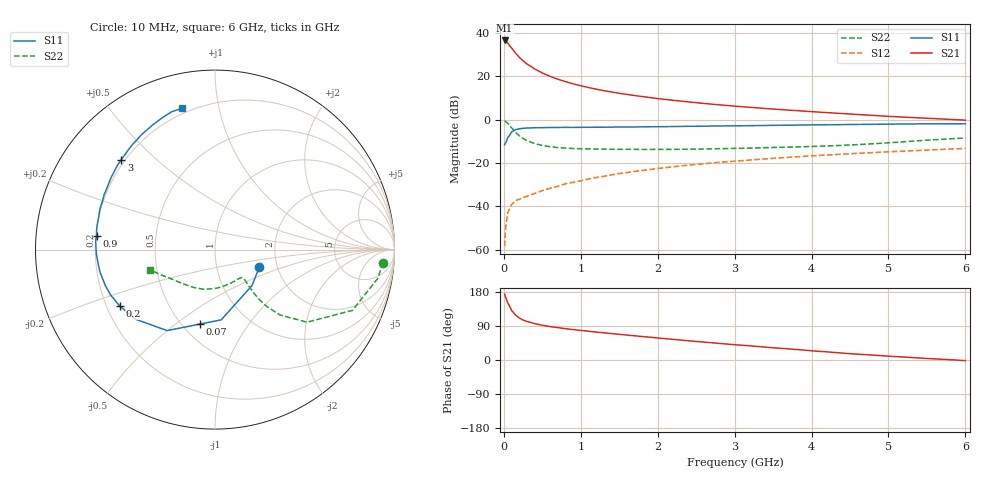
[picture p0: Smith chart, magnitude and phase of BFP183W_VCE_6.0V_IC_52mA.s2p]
! Infineon Technologies  Discrete & RF Semiconductors
! BFP183W
! VCE =  6.0 V,  IC =  52 mA
! Common Emitter S-Parameters:  Jan 2017
# GHz  S  MA  R  50
!  f  S11  S21  S12  S22
! GHz  MAG  ANG  MAG  ANG  MAG  ANG  MAG  ANG
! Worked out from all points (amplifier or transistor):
!   77 points, 10 MHz to 6 GHz, reference 50 ohm
!   highest |S21| = 36.6 dB at 10 MHz (marker M1)
!   |S21| within 3 dB of that: start of sweep to 88.87 MHz
!   unconditionally stable (mu >= 1): 631 MHz to 3.37 GHz
!   at 130 MHz: K = 0.41, MSG = 35.0 dB, |S12| = -38.1 dB
!   at 2.2 GHz: K = 1.08, MAG = 13.7 dB, |S12| = -21.8 dB
!   at 6 GHz: K = 0.85, MSG = 6.5 dB, |S12| = -13.2 dB
!   S11 on the Smith chart (normalised r, x): 10 MHz: 1.61, -0.34; 70 MHz: 0.61, -0.61; 200 MHz: 0.25, -0.26; 900 MHz: 0.20, +0.05; 3 GHz: 0.19, +0.39; 6 GHz: 0.17, +0.78
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0.01  0.2656 -21.4  67.89 174.0  0.0012 79.4  0.9375 -4.4
0.02  0.2877 -44.3  66.86 167.3  0.0027 92.2  0.922 -9.9
0.05  0.3929 -85.0  59.49 150.5  0.0069 68.8  0.837 -23.9
0.07  0.4242 -101.7  53.18 143.8  0.0085 63.0  0.7578 -28.8
0.1  0.5243 -120.6  45.52 130.6  0.0109 57.4  0.6526 -38.3
0.15  0.5879 -138.7  34.97 118.8  0.0135 50.8  0.5152 -45.1
0.2  0.6167 -149.3  27.83 110.9  0.0145 51.2  0.4283 -47.7
0.25  0.6343 -156.6  22.99 105.5  0.0159 49.7  0.3702 -48.4
0.3  0.6431 -161.9  19.46 101.6  0.0171 52.5  0.3294 -48.3
0.4  0.653 -169.0  14.93 95.8  0.0198 56.4  0.2809 -47.3
0.5  0.6566 -174.1  12.03 91.7  0.023 58.3  0.2546 -46.2
0.6  0.6612 -177.8  10.09 88.3  0.0262 61.1  0.2385 -45.6
0.7  0.6634 179.0  8.663 85.5  0.0289 62.7  0.2275 -45.1
0.9  0.6644 173.5  6.752 80.3  0.0358 65.5  0.2166 -46.1
1.1  0.6703 168.9  5.555 76.0  0.0427 67.0  0.2123 -48.0
1.5  0.6792 161.0  4.087 67.8  0.0571 67.2  0.2068 -54.0
2.1  0.6935 150.0  2.95 56.3  0.0783 65.8  0.2065 -67.5
3  0.7239 136.1  2.062 40.3  0.1102 61.3  0.218 -92.2
3.1  0.7267 134.7  1.999 38.9  0.1138 60.7  0.2193 -94.9
4.1  0.7631 121.2  1.5 22.9  0.1496 54.2  0.2445 -122.1
5.1  0.7939 110.8  1.174 9.0  0.1849 47.3  0.3014 -148.4
6  0.8084 103.0  0.979 -1.6  0.2176 40.7  0.3792 -162.9
